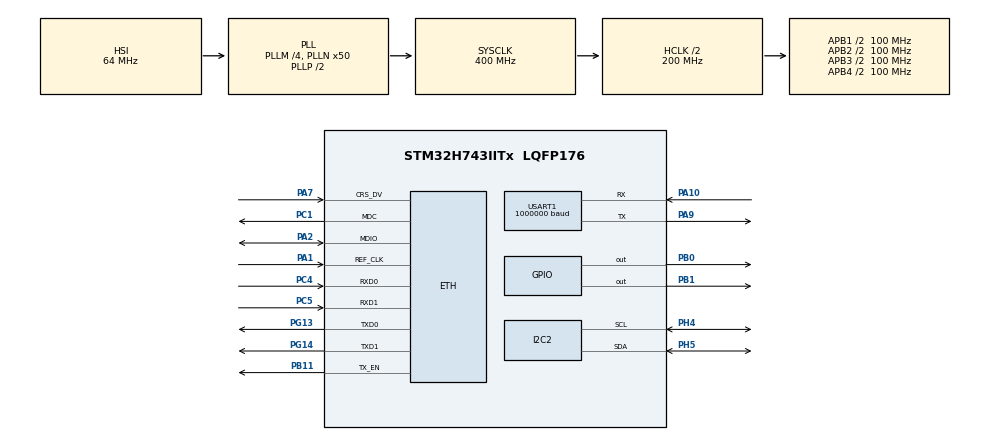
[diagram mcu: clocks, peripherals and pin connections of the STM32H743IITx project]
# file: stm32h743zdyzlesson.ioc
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CORTEX_M7.AccessPermission_S-Cortex_Memory_Protection_Unit_Region1_Settings_S=MPU_REGION_FULL_ACCESS
CORTEX_M7.AccessPermission_S-Cortex_Memory_Protection_Unit_Region2_Settings_S=MPU_REGION_FULL_ACCESS
CORTEX_M7.BaseAddress_S-Cortex_Memory_Protection_Unit_Region1_Settings_S=0x30000000
CORTEX_M7.BaseAddress_S-Cortex_Memory_Protection_Unit_Region2_Settings_S=0x30020000
CORTEX_M7.CPU_DCache=Enabled
CORTEX_M7.CPU_ICache=Enabled
CORTEX_M7.DisableExec_S-Cortex_Memory_Protection_Unit_Region1_Settings_S=MPU_INSTRUCTION_ACCESS_DISABLE
CORTEX_M7.DisableExec_S-Cortex_Memory_Protection_Unit_Region2_Settings_S=MPU_INSTRUCTION_ACCESS_DISABLE
CORTEX_M7.Enable_S-Cortex_Memory_Protection_Unit_Region1_Settings_S=MPU_REGION_ENABLE
CORTEX_M7.Enable_S-Cortex_Memory_Protection_Unit_Region2_Settings_S=MPU_REGION_ENABLE
CORTEX_M7.IsBufferable_S-Cortex_Memory_Protection_Unit_Region1_Settings_S=MPU_ACCESS_BUFFERABLE
CORTEX_M7.IsBufferable_S-Cortex_Memory_Protection_Unit_Region2_Settings_S=MPU_ACCESS_NOT_BUFFERABLE
CORTEX_M7.IsShareable_S-Cortex_Memory_Protection_Unit_Region1_Settings_S=MPU_ACCESS_SHAREABLE
CORTEX_M7.IsShareable_S-Cortex_Memory_Protection_Unit_Region2_Settings_S=MPU_ACCESS_NOT_SHAREABLE
CORTEX_M7.Size_S-Cortex_Memory_Protection_Unit_Region1_Settings_S=MPU_REGION_SIZE_1KB
CORTEX_M7.Size_S-Cortex_Memory_Protection_Unit_Region2_Settings_S=MPU_REGION_SIZE_512KB
CORTEX_M7.TypeExtField_S-Cortex_Memory_Protection_Unit_Region1_Settings_S=MPU_TEX_LEVEL0
CORTEX_M7.TypeExtField_S-Cortex_Memory_Protection_Unit_Region2_Settings_S=MPU_TEX_LEVEL1
CORTEX_M7.default_mode_Activation=1
ETH.ETH_RX_DESC_CNT=4
ETH.ETH_TX_DESC_CNT=4
ETH.MediaInterface=HAL_ETH_RMII_MODE
FREERTOS.Tasks01=defaultTask,24,2048,StartDefaultTask,Default,NULL,Dynamic,NULL,NULL;enternetTask,24,1024,enternetStart,Default,NULL,Dynamic,NULL,NULL
FREERTOS.configCHECK_FOR_STACK_OVERFLOW=1
FREERTOS.configMINIMAL_STACK_SIZE=256
FREERTOS.configTIMER_TASK_STACK_DEPTH=256
FREERTOS.configTOTAL_HEAP_SIZE=327680
I2C2.Timing=0x10C0ECFF
LWIP.API_LIB_DEBUG=LWIP_DBG_OFF
LWIP.API_MSG_DEBUG=LWIP_DBG_OFF
LWIP.AUTOIP_DEBUG=LWIP_DBG_OFF
LWIP.BSP.number=1
LWIP.DEFAULT_THREAD_STACKSIZE=2048
LWIP.DHCP_DEBUG=LWIP_DBG_OFF
LWIP.DNS_DEBUG=LWIP_DBG_OFF
LWIP.ETHARP_DEBUG=LWIP_DBG_OFF
LWIP.GATEWAY_ADDRESS=192.168.001.001
LWIP.ICMP_DEBUG=LWIP_DBG_OFF
LWIP.IGMP_DEBUG=LWIP_DBG_OFF
LWIP.INET_DEBUG=LWIP_DBG_OFF
LWIP.IP_ADDRESS=192.168.001.010
LWIP.IP_DEBUG=LWIP_DBG_OFF
LWIP.IP_REASS_DEBUG=LWIP_DBG_OFF
LWIP.LWIP_DBG_MIN_LEVEL=LWIP_DBG_LEVEL_ALL
LWIP.LWIP_DBG_TYPES_ON=LWIP_DBG_ON
LWIP.LWIP_DHCP=0
LWIP.LWIP_RAM_HEAP_POINTER=0x30020000
LWIP.LWIP_TCP_MAX_SACK_NUM=8
LWIP.MEMP_DEBUG=LWIP_DBG_ON
LWIP.MEMP_MEM_MALLOC=1
LWIP.MEMP_NUM_NETCONN=6
LWIP.MEMP_NUM_PBUF=40
LWIP.MEMP_NUM_SYS_TIMEOUT=5
LWIP.MEMP_NUM_TCP_PCB=16
LWIP.MEMP_NUM_UDP_PCB=16
LWIP.MEM_DEBUG=LWIP_DBG_ON
LWIP.MEM_SIZE=162120
LWIP.NETIF_DEBUG=LWIP_DBG_OFF
LWIP.NETMASK_ADDRESS=255.255.255.000
LWIP.PBUF_DEBUG=LWIP_DBG_OFF
LWIP.PBUF_POOL_SIZE=20
LWIP.RAW_DEBUG=LWIP_DBG_OFF
LWIP.SLIP_DEBUG=LWIP_DBG_OFF
LWIP.SOCKETS_DEBUG=LWIP_DBG_ON
LWIP.SYS_DEBUG=LWIP_DBG_ON
LWIP.TCPIP_DEBUG=LWIP_DBG_OFF
LWIP.TCPIP_THREAD_STACKSIZE=2048
LWIP.TCP_CWND_DEBUG=LWIP_DBG_OFF
LWIP.TCP_DEBUG=LWIP_DBG_ON
LWIP.TCP_FR_DEBUG=LWIP_DBG_OFF
LWIP.TCP_INPUT_DEBUG=LWIP_DBG_ON
LWIP.TCP_MSS=1460
LWIP.TCP_OUTPUT_DEBUG=LWIP_DBG_OFF
LWIP.TCP_QLEN_DEBUG=LWIP_DBG_OFF
LWIP.TCP_RST_DEBUG=LWIP_DBG_OFF
LWIP.TCP_RTO_DEBUG=LWIP_DBG_OFF
LWIP.TCP_SND_BUF=5840
LWIP.TCP_SND_QUEUELEN=16
LWIP.TCP_WND_DEBUG=LWIP_DBG_ON
LWIP.TIMERS_DEBUG=LWIP_DBG_OFF
LWIP.Version=v2.1.2_Cube
LWIP0.BSP.STBoard=false
LWIP0.BSP.api=BSP_COMPONENT_DRIVER
LWIP0.BSP.component=LAN8742
LWIP0.BSP.instance=LAN8742
LWIP0.BSP.name=Driver_PHY
LWIP0.BSP.semaphore=S_LAN8742
LWIP0.BSP.solution=LAN8742
Mcu.Family=STM32H7
Mcu.Name=STM32H743IITx
Mcu.Package=LQFP176
NVIC.ETH_IRQn=true\:5\:0\:true\:false\:true\:true\:true\:true\:true
NVIC.PriorityGroup=NVIC_PRIORITYGROUP_4
NVIC.TIM7_IRQn=true\:15\:0\:false\:false\:true\:false\:false\:true\:true
NVIC.TimeBase=TIM7_IRQn
NVIC.TimeBaseIP=TIM7
NVIC.USART1_IRQn=true\:5\:0\:false\:false\:true\:true\:true\:true\:true
PA1.GPIO_Mode=GPIO_MODE_AF_PP
PA1.GPIO_PuPd=GPIO_NOPULL
PA1.GPIO_Speed=GPIO_SPEED_FREQ_LOW
PA1.Mode=RMII
PA1.Signal=ETH_REF_CLK
PA10.Mode=Asynchronous
PA10.Signal=USART1_RX
PA13\ (JTMS/SWDIO).Mode=Serial_Wire
PA13\ (JTMS/SWDIO).Signal=DEBUG_JTMS-SWDIO
PA14\ (JTCK/SWCLK).Mode=Serial_Wire
PA14\ (JTCK/SWCLK).Signal=DEBUG_JTCK-SWCLK
PA2.GPIO_Mode=GPIO_MODE_AF_PP
PA2.GPIO_PuPd=GPIO_NOPULL
PA2.GPIO_Speed=GPIO_SPEED_FREQ_LOW
PA2.Mode=RMII
PA2.Signal=ETH_MDIO
PA7.GPIO_Mode=GPIO_MODE_AF_PP
PA7.GPIO_PuPd=GPIO_NOPULL
PA7.GPIO_Speed=GPIO_SPEED_FREQ_LOW
PA7.Mode=RMII
PA7.Signal=ETH_CRS_DV
PA9.Mode=Asynchronous
PA9.Signal=USART1_TX
PB0.PinState=GPIO_PIN_SET
PB0.Signal=GPIO_Output
PB1.Signal=GPIO_Output
PB11.GPIO_Mode=GPIO_MODE_AF_PP
PB11.GPIO_PuPd=GPIO_NOPULL
PB11.GPIO_Speed=GPIO_SPEED_FREQ_LOW
PB11.Mode=RMII
PB11.Signal=ETH_TX_EN
PC1.GPIO_Mode=GPIO_MODE_AF_PP
PC1.GPIO_PuPd=GPIO_NOPULL
PC1.GPIO_Speed=GPIO_SPEED_FREQ_LOW
PC1.Mode=RMII
PC1.Signal=ETH_MDC
PC4.GPIO_Mode=GPIO_MODE_AF_PP
PC4.GPIO_PuPd=GPIO_NOPULL
PC4.GPIO_Speed=GPIO_SPEED_FREQ_LOW
PC4.Mode=RMII
PC4.Signal=ETH_RXD0
PC5.GPIO_Mode=GPIO_MODE_AF_PP
PC5.GPIO_PuPd=GPIO_NOPULL
PC5.GPIO_Speed=GPIO_SPEED_FREQ_LOW
PC5.Mode=RMII
PC5.Signal=ETH_RXD1
PG13.GPIO_Mode=GPIO_MODE_AF_PP
PG13.GPIO_PuPd=GPIO_NOPULL
PG13.GPIO_Speed=GPIO_SPEED_FREQ_LOW
PG13.Mode=RMII
PG13.Signal=ETH_TXD0
PG14.GPIO_Mode=GPIO_MODE_AF_PP
PG14.GPIO_PuPd=GPIO_NOPULL
PG14.GPIO_Speed=GPIO_SPEED_FREQ_LOW
PG14.Mode=RMII
PG14.Signal=ETH_TXD1
PH0-OSC_IN\ (PH0).Mode=HSE-External-Oscillator
PH0-OSC_IN\ (PH0).Signal=RCC_OSC_IN
PH1-OSC_OUT\ (PH1).Mode=HSE-External-Oscillator
PH1-OSC_OUT\ (PH1).Signal=RCC_OSC_OUT
PH4.Mode=I2C
PH4.Signal=I2C2_SCL
PH5.Mode=I2C
PH5.Signal=I2C2_SDA
ProjectManager.HeapSize=0x800
ProjectManager.StackSize=0x800
ProjectManager.TargetToolchain=MDK-ARM V5.32
RCC.ADCFreq_Value=129000000
RCC.APB1Freq_Value=100000000
RCC.APB2Freq_Value=100000000
RCC.APB3Freq_Value=100000000
RCC.APB4Freq_Value=100000000
RCC.CortexFreq_Value=400000000
RCC.D1PPRE=RCC_APB3_DIV2
RCC.D2PPRE1=RCC_APB1_DIV2
RCC.D2PPRE2=RCC_APB2_DIV2
RCC.D3PPRE=RCC_APB4_DIV2
RCC.DIVM1=4
RCC.DIVN1=50
RCC.HCLKFreq_Value=200000000
RCC.HPRE=RCC_HCLK_DIV2
RCC.PLL2FRACN=0
RCC.PLL3FRACN=0
RCC.PLLFRACN=0
RCC.SYSCLKFreq_VALUE=400000000
RCC.SYSCLKSource=RCC_SYSCLKSOURCE_PLLCLK
RCC.USBFreq_Value=400000000
USART1.BaudRate=1000000
USART1.VirtualMode-Asynchronous=VM_ASYNC
VP_FREERTOS_VS_CMSIS_V2.Mode=CMSIS_V2
VP_LWIP_VS_Enabled.Mode=Enabled
VP_SYS_VS_tim7.Mode=TIM7
board=custom

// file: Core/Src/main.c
/* USER CODE BEGIN Header */
/**
  ******************************************************************************
  * @file           : main.c
  * @brief          : Main program body
  ******************************************************************************
  * @attention
  * @todo : 1、增加printf线程和队列功能
  *
  * Copyright (c) 2024 STMicroelectronics.
  * All rights reserved.
  *
  * This software is licensed under terms that can be found in the LICENSE file
  * in the root directory of this software component.
  * If no LICENSE file comes with this software, it is provided AS-IS.
  *
  ******************************************************************************
  */
/* USER CODE END Header */
#include "main.h"
#include "cmsis_os.h"
#include "lwip.h"

/* USER CODE BEGIN Includes */
#include "string.h"
#include <stdio.h>
#include "uart_device.h"
#include "socket_device.h"
#include "sockets.h"
#include "pcf8574.h"
#include "FreeRTOS.h"
#include "semphr.h"
#include "queue.h"
#include "lwip/apps/lwiperf.h"
#include "tcp_client_item.h"
#include "tcp_server_item.h"
#include "udp_client_item.h"
#include "udp_server_item.h"

/* USER CODE END Includes */

/* USER CODE BEGIN PD */
#define LWIP_DEBUG
/* USER CODE END PD */

I2C_HandleTypeDef hi2c2;

UART_HandleTypeDef huart1;

/* Definitions for defaultTask */
osThreadId_t defaultTaskHandle;
const osThreadAttr_t defaultTask_attributes = {
  .name = "defaultTask",
  .stack_size = 2048 * 4,
  .priority = (osPriority_t) osPriorityNormal,
};
/* Definitions for enternetTask */
osThreadId_t enternetTaskHandle;
const osThreadAttr_t enternetTask_attributes = {
  .name = "enternetTask",
  .stack_size = 1024 * 4,
  .priority = (osPriority_t) osPriorityNormal,
};
/* USER CODE BEGIN PV */
osThreadId_t myTaskHandle;
const osThreadAttr_t myTask_attributes = {
  .name = "myTask",
  .stack_size = 128 * 4,
  .priority = (osPriority_t) osPriorityNormal,
};

volatile pcf8574Regs pcf8574_Reg_map;

UART_DeviceType *UARTdevice;
/* USER CODE END PV */

void SystemClock_Config(void);
static void MPU_Config(void);
static void MX_GPIO_Init(void);
static void MX_USART1_UART_Init(void);
static void MX_I2C2_Init(void);
void StartDefaultTask(void *argument);
void enternetStart(void *argument);

/* USER CODE BEGIN PFP */
#define Write_Through() (*(__IO uint32_t*)0XE000EF9C=1UL<<2) //Cache透写模式

struct __FILE
{
  int handle;
};

FILE __stdout;

void _sys_exit(int x){
    x = x;
}

int fputc(int ch, FILE *f){
    HAL_UART_Transmit_IT(&huart1,(uint8_t *)&ch,1);
    while(__HAL_UART_GET_FLAG(&huart1, UART_FLAG_TC) == RESET){}
    return ch;

}
/* USER CODE END PFP */

int main(void)
{

  /* MPU Configuration--------------------------------------------------------*/
  MPU_Config();

  /* Enable the CPU Cache */

  /* Enable I-Cache---------------------------------------------------------*/
  SCB_EnableICache();

  /* Enable D-Cache---------------------------------------------------------*/
  SCB_EnableDCache();

  /* MCU Configuration--------------------------------------------------------*/

  /* Reset of all peripherals, Initializes the Flash interface and the Systick. */
  HAL_Init();

  /* USER CODE BEGIN Init */
  Write_Through();
  /* USER CODE END Init */

  /* Configure the system clock */
  SystemClock_Config();

  /* Initialize all configured peripherals */
  MX_GPIO_Init();
  MX_USART1_UART_Init();
  MX_I2C2_Init();
  /* USER CODE BEGIN 2 */
  UARTdevice = Get_UART_Device("stm32_uart1");

  UARTdevice->Init(UARTdevice);
  /* USER CODE END 2 */

  /* Init scheduler */
  osKernelInitialize();

  /* Create the thread(s) */
  /* creation of defaultTask */
  defaultTaskHandle = osThreadNew(StartDefaultTask, NULL, &defaultTask_attributes);

  /* creation of enternetTask */
  enternetTaskHandle = osThreadNew(enternetStart, NULL, &enternetTask_attributes);

  /* USER CODE BEGIN RTOS_THREADS */
  /* add threads, ... */
  // myTaskHandle = osThreadNew(StartMyTask, NULL, &myTask_attributes);

  /* USER CODE END RTOS_THREADS */

  /* Start scheduler */
  osKernelStart();

  /* We should never get here as control is now taken by the scheduler */

  /* Infinite loop */
  while (1)
  {

  }
}

void SystemClock_Config(void)
{
  RCC_OscInitTypeDef RCC_OscInitStruct = {0};
  RCC_ClkInitTypeDef RCC_ClkInitStruct = {0};

  /** Supply configuration update enable
  */
  HAL_PWREx_ConfigSupply(PWR_LDO_SUPPLY);

  /** Configure the main internal regulator output voltage
  */
  __HAL_PWR_VOLTAGESCALING_CONFIG(PWR_REGULATOR_VOLTAGE_SCALE1);

  while(!__HAL_PWR_GET_FLAG(PWR_FLAG_VOSRDY)) {}

  /** Initializes the RCC Oscillators according to the specified parameters
  * in the RCC_OscInitTypeDef structure.
  */
  RCC_OscInitStruct.OscillatorType = RCC_OSCILLATORTYPE_HSI;
  RCC_OscInitStruct.HSIState = RCC_HSI_DIV1;
  RCC_OscInitStruct.HSICalibrationValue = RCC_HSICALIBRATION_DEFAULT;
  RCC_OscInitStruct.PLL.PLLState = RCC_PLL_ON;
  RCC_OscInitStruct.PLL.PLLSource = RCC_PLLSOURCE_HSI;
  RCC_OscInitStruct.PLL.PLLM = 4;
  RCC_OscInitStruct.PLL.PLLN = 50;
  RCC_OscInitStruct.PLL.PLLP = 2;
  RCC_OscInitStruct.PLL.PLLQ = 2;
  RCC_OscInitStruct.PLL.PLLR = 2;
  RCC_OscInitStruct.PLL.PLLRGE = RCC_PLL1VCIRANGE_3;
  RCC_OscInitStruct.PLL.PLLVCOSEL = RCC_PLL1VCOWIDE;
  RCC_OscInitStruct.PLL.PLLFRACN = 0;
  if (HAL_RCC_OscConfig(&RCC_OscInitStruct) != HAL_OK)
  {
    Error_Handler();
  }

  /** Initializes the CPU, AHB and APB buses clocks
  */
  RCC_ClkInitStruct.ClockType = RCC_CLOCKTYPE_HCLK|RCC_CLOCKTYPE_SYSCLK
                              |RCC_CLOCKTYPE_PCLK1|RCC_CLOCKTYPE_PCLK2
                              |RCC_CLOCKTYPE_D3PCLK1|RCC_CLOCKTYPE_D1PCLK1;
  RCC_ClkInitStruct.SYSCLKSource = RCC_SYSCLKSOURCE_PLLCLK;
  RCC_ClkInitStruct.SYSCLKDivider = RCC_SYSCLK_DIV1;
  RCC_ClkInitStruct.AHBCLKDivider = RCC_HCLK_DIV2;
  RCC_ClkInitStruct.APB3CLKDivider = RCC_APB3_DIV2;
  RCC_ClkInitStruct.APB1CLKDivider = RCC_APB1_DIV2;
  RCC_ClkInitStruct.APB2CLKDivider = RCC_APB2_DIV2;
  RCC_ClkInitStruct.APB4CLKDivider = RCC_APB4_DIV2;

  if (HAL_RCC_ClockConfig(&RCC_ClkInitStruct, FLASH_LATENCY_2) != HAL_OK)
  {
    Error_Handler();
  }
}

static void MX_I2C2_Init(void)
{

  hi2c2.Instance = I2C2;
  hi2c2.Init.Timing = 0x10C0ECFF;
  hi2c2.Init.OwnAddress1 = 0;
  hi2c2.Init.AddressingMode = I2C_ADDRESSINGMODE_7BIT;
  hi2c2.Init.DualAddressMode = I2C_DUALADDRESS_DISABLE;
  hi2c2.Init.OwnAddress2 = 0;
  hi2c2.Init.OwnAddress2Masks = I2C_OA2_NOMASK;
  hi2c2.Init.GeneralCallMode = I2C_GENERALCALL_DISABLE;
  hi2c2.Init.NoStretchMode = I2C_NOSTRETCH_DISABLE;
  if (HAL_I2C_Init(&hi2c2) != HAL_OK)
  {
    Error_Handler();
  }

  /** Configure Analogue filter
  */
  if (HAL_I2CEx_ConfigAnalogFilter(&hi2c2, I2C_ANALOGFILTER_ENABLE) != HAL_OK)
  {
    Error_Handler();
  }

  /** Configure Digital filter
  */
  if (HAL_I2CEx_ConfigDigitalFilter(&hi2c2, 0) != HAL_OK)
  {
    Error_Handler();
  }
  /* USER CODE BEGIN I2C2_Init 2 */
    pcf8574_Reg_map.Output.all = 0xff;
    pcf8574_Reg_map.Output.bit.ETH_RESET_IO = 1;
    pcf8574WriteOutput((pcf8574Regs*) &pcf8574_Reg_map);
    HAL_Delay(100);
    pcf8574_Reg_map.Output.bit.ETH_RESET_IO = 0;
    pcf8574WriteOutput((pcf8574Regs*) &pcf8574_Reg_map);
    HAL_Delay(100);
  /* USER CODE END I2C2_Init 2 */

}

static void MX_USART1_UART_Init(void)
{

  huart1.Instance = USART1;
  huart1.Init.BaudRate = 1000000;
  huart1.Init.WordLength = UART_WORDLENGTH_8B;
  huart1.Init.StopBits = UART_STOPBITS_1;
  huart1.Init.Parity = UART_PARITY_NONE;
  huart1.Init.Mode = UART_MODE_TX_RX;
  huart1.Init.HwFlowCtl = UART_HWCONTROL_NONE;
  huart1.Init.OverSampling = UART_OVERSAMPLING_16;
  huart1.Init.OneBitSampling = UART_ONE_BIT_SAMPLE_DISABLE;
  huart1.Init.ClockPrescaler = UART_PRESCALER_DIV1;
  huart1.AdvancedInit.AdvFeatureInit = UART_ADVFEATURE_NO_INIT;
  if (HAL_UART_Init(&huart1) != HAL_OK)
  {
    Error_Handler();
  }
  if (HAL_UARTEx_SetTxFifoThreshold(&huart1, UART_TXFIFO_THRESHOLD_1_8) != HAL_OK)
  {
    Error_Handler();
  }
  if (HAL_UARTEx_SetRxFifoThreshold(&huart1, UART_RXFIFO_THRESHOLD_1_8) != HAL_OK)
  {
    Error_Handler();
  }
  if (HAL_UARTEx_DisableFifoMode(&huart1) != HAL_OK)
  {
    Error_Handler();
  }

}

static void MX_GPIO_Init(void)
{
  GPIO_InitTypeDef GPIO_InitStruct = {0};

  /* GPIO Ports Clock Enable */
  __HAL_RCC_GPIOH_CLK_ENABLE();
  __HAL_RCC_GPIOC_CLK_ENABLE();
  __HAL_RCC_GPIOA_CLK_ENABLE();
  __HAL_RCC_GPIOB_CLK_ENABLE();
  __HAL_RCC_GPIOG_CLK_ENABLE();

  /*Configure GPIO pin Output Level */
  HAL_GPIO_WritePin(GPIOB, GPIO_PIN_0, GPIO_PIN_SET);

  /*Configure GPIO pin Output Level */
  HAL_GPIO_WritePin(GPIOB, GPIO_PIN_1, GPIO_PIN_RESET);

  /*Configure GPIO pins : PB0 PB1 */
  GPIO_InitStruct.Pin = GPIO_PIN_0|GPIO_PIN_1;
  GPIO_InitStruct.Mode = GPIO_MODE_OUTPUT_PP;
  GPIO_InitStruct.Pull = GPIO_NOPULL;
  GPIO_InitStruct.Speed = GPIO_SPEED_FREQ_LOW;
  HAL_GPIO_Init(GPIOB, &GPIO_InitStruct);

}

void StartDefaultTask(void *argument)
{
  /* init code for LWIP */
  MX_LWIP_Init();
  /* USER CODE BEGIN 5 */
  static uint16_t ledtimes=0;
  uint16_t ledblinkcycle=500;
  uint16_t ledontime=10;
  uint16_t ledofftime=ledblinkcycle-ledontime;
  // uint8_t led
  /* Infinite loop */
  for(;;)
  {
    if(ledtimes++ == ledofftime)
      HAL_GPIO_WritePin(GPIOB, GPIO_PIN_0, GPIO_PIN_RESET);
    else if (ledtimes == ledontime)
    {
      HAL_GPIO_WritePin(GPIOB, GPIO_PIN_0, GPIO_PIN_SET);
    } else if (ledtimes == ledblinkcycle)
    {
      ledtimes = 0U;
    }

    osDelay(10);
  }
  /* USER CODE END 5 */
}

void enternetStart(void *argument)
{
  /* USER CODE BEGIN enternetStart */
  FLASH_OBProgramInitTypeDef flash_OBProgramInitType;
  while (osSemaphoreAcquire(xNetifSemaphore, osWaitForever) != osOK);
    // 启动TCP服务器
    start_tcp_server();

    // // 启动TCP客户端
    start_tcp_client();

    // 启动TCP服务器
    start_udp_server();

    // 启动TCP客户端
    start_udp_client();
  /* Infinite loop */
  for(;;)
  {

    osDelay(1);
  }
  /* USER CODE END enternetStart */
}

 /* MPU Configuration */

void MPU_Config(void)
{
  MPU_Region_InitTypeDef MPU_InitStruct = {0};

  /* Disables the MPU */
  HAL_MPU_Disable();

  /** Initializes and configures the Region and the memory to be protected
  */
  MPU_InitStruct.Enable = MPU_REGION_ENABLE;
  MPU_InitStruct.Number = MPU_REGION_NUMBER0;
  MPU_InitStruct.BaseAddress = 0x0;
  MPU_InitStruct.Size = MPU_REGION_SIZE_4GB;
  MPU_InitStruct.SubRegionDisable = 0x87;
  MPU_InitStruct.TypeExtField = MPU_TEX_LEVEL0;
  MPU_InitStruct.AccessPermission = MPU_REGION_NO_ACCESS;
  MPU_InitStruct.DisableExec = MPU_INSTRUCTION_ACCESS_DISABLE;
  MPU_InitStruct.IsShareable = MPU_ACCESS_SHAREABLE;
  MPU_InitStruct.IsCacheable = MPU_ACCESS_NOT_CACHEABLE;
  MPU_InitStruct.IsBufferable = MPU_ACCESS_NOT_BUFFERABLE;

  HAL_MPU_ConfigRegion(&MPU_InitStruct);

  /** Initializes and configures the Region and the memory to be protected
  */
  MPU_InitStruct.Number = MPU_REGION_NUMBER1;
  MPU_InitStruct.BaseAddress = 0x30000000;
  MPU_InitStruct.Size = MPU_REGION_SIZE_1KB;
  MPU_InitStruct.SubRegionDisable = 0x0;
  MPU_InitStruct.AccessPermission = MPU_REGION_FULL_ACCESS;
  MPU_InitStruct.IsBufferable = MPU_ACCESS_BUFFERABLE;

  HAL_MPU_ConfigRegion(&MPU_InitStruct);

  /** Initializes and configures the Region and the memory to be protected
  */
  MPU_InitStruct.Number = MPU_REGION_NUMBER2;
  MPU_InitStruct.BaseAddress = 0x30020000;
  MPU_InitStruct.Size = MPU_REGION_SIZE_512KB;
  MPU_InitStruct.TypeExtField = MPU_TEX_LEVEL1;
  MPU_InitStruct.IsShareable = MPU_ACCESS_NOT_SHAREABLE;
  MPU_InitStruct.IsBufferable = MPU_ACCESS_NOT_BUFFERABLE;

  HAL_MPU_ConfigRegion(&MPU_InitStruct);
  /* Enables the MPU */
  HAL_MPU_Enable(MPU_PRIVILEGED_DEFAULT);

}

void HAL_TIM_PeriodElapsedCallback(TIM_HandleTypeDef *htim)
{
  if (htim->Instance == TIM7) {
    HAL_IncTick();
  }
}

void Error_Handler(void)
{
  __disable_irq();
  while (1)
  {
  }
}

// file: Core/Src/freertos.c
/* USER CODE BEGIN Header */
/**
  ******************************************************************************
  * File Name          : freertos.c
  * Description        : Code for freertos applications
  ******************************************************************************
  * @attention
  *
  * Copyright (c) 2024 STMicroelectronics.
  * All rights reserved.
  *
  * This software is licensed under terms that can be found in the LICENSE file
  * in the root directory of this software component.
  * If no LICENSE file comes with this software, it is provided AS-IS.
  *
  ******************************************************************************
  */
/* USER CODE END Header */

#include "FreeRTOS.h"
#include "task.h"
#include "main.h"

/* USER CODE BEGIN Includes */
#include "cmsis_os2.h"                  // ::CMSIS:RTOS2

/* USER CODE END Includes */

/* USER CODE BEGIN FunctionPrototypes */
void StartMyTask(void *argument)
{
  /* Infinite loop */
  for(;;)
  {
    // HAL_GPIO_TogglePin(GPIOB, GPIO_PIN_0);
    osDelay(1000);
  }
}
/* USER CODE END FunctionPrototypes */

/* Hook prototypes */
void vApplicationStackOverflowHook(xTaskHandle xTask, signed char *pcTaskName);

/* USER CODE BEGIN 4 */
void vApplicationStackOverflowHook(xTaskHandle xTask, signed char *pcTaskName)
{
   /* Run time stack overflow checking is performed if
   configCHECK_FOR_STACK_OVERFLOW is defined to 1 or 2. This hook function is
   called if a stack overflow is detected. */
}
/* USER CODE END 4 */
